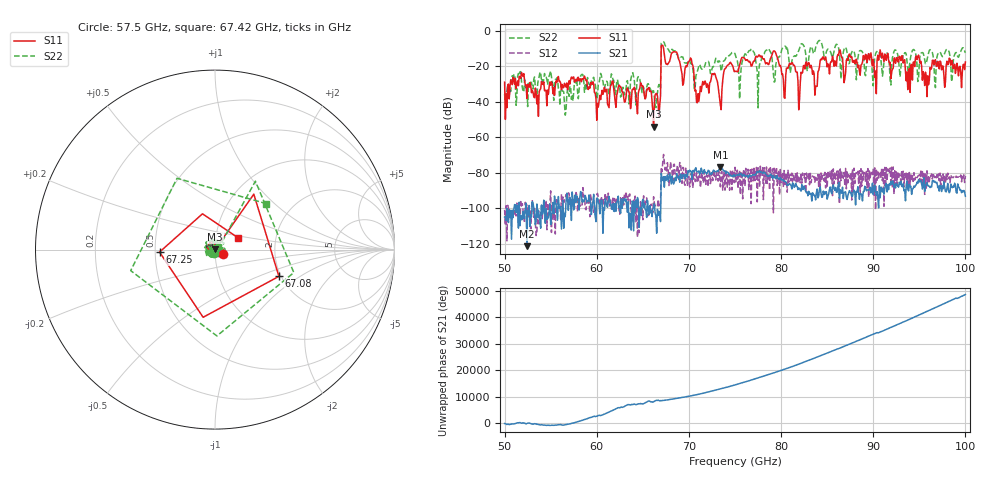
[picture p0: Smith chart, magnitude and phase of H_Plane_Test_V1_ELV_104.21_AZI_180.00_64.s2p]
! 11/27/2026 8:44:32 AM
! C:\ANRITSUVNA\TEMP\TEMP.S2P
! CHANNEL.1
! TR.MEASUREMENT
! RAW.DATA
# HZ S RI R 50.0
! FREQ.HZ  S11RE  S11IM  S21RE  S21IM  S12RE  S12IM  S22RE  S22IM
!; PortSelection: Port_12
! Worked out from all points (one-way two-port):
!   601 points, 50 GHz to 100 GHz, reference 50 ohm
!   highest |S21| = -77.03 dB at 73.42 GHz (marker M1); lowest = -121.4 dB at 52.42 GHz (marker M2)
!   lowest |S11| = -54.1 dB at 66.17 GHz (marker M3), VSWR 1.00, Z = 50.1 + j0.142 ohm
!   |S11| at or under -10 dB: start of sweep to 67 GHz; 67.24 GHz to end of sweep
!   |S22| runs from -47.6 to -5.6 dB; largest |S21 - S12| = 0.00028
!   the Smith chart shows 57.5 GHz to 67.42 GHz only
!   S11 on the Smith chart (normalised r, x): 57.5 GHz: 1.09, -0.05; 67.08 GHz: 1.95, -0.68; 67.25 GHz: 0.53, -0.02; 67.42 GHz: 1.29, +0.17
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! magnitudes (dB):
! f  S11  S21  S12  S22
! 50 GHz  -29.1  -104.9  -100.9  -35.8
! 52.42 GHz  -38.2  -121.4  -98.1  -31.6
! 57.5 GHz  -26.2  -101.0  -96.1  -34.5
! 58.42 GHz  -27.1  -96.5  -97.9  -24.6
! 60.17 GHz  -43.1  -96.3  -93.7  -30.2
! 66.17 GHz  -54.1  -99.5  -93.5  -34.0
! 66.67 GHz  -41.8  -104.1  -95.1  -31.6
! 67.08 GHz  -8.3  -83.3  -79.4  -6.8
! 67.25 GHz  -10.2  -82.2  -69.8  -6.3
! 67.42 GHz  -16.7  -82.2  -78.4  -8.3
! 70.17 GHz  -15.4  -79.2  -85.1  -18.5
! 70.67 GHz  -34.1  -78.0  -85.0  -33.0
! 73.42 GHz  -42.0  -77.0  -87.9  -19.7
! 75 GHz  -23.1  -81.9  -77.0  -13.0
! 79.25 GHz  -11.4  -82.5  -77.5  -29.0
! 80.25 GHz  -28.0  -84.3  -87.8  -9.3
! 83.42 GHz  -24.6  -91.3  -81.9  -10.9
! 91.67 GHz  -16.8  -89.5  -78.8  -15.3
! 93.75 GHz  -33.3  -89.1  -80.6  -21.6
! 94.83 GHz  -14.8  -86.0  -82.0  -28.7
! 95.83 GHz  -37.2  -85.6  -79.0  -16.6
! 100 GHz  -17.7  -93.3  -81.9  -12.6
